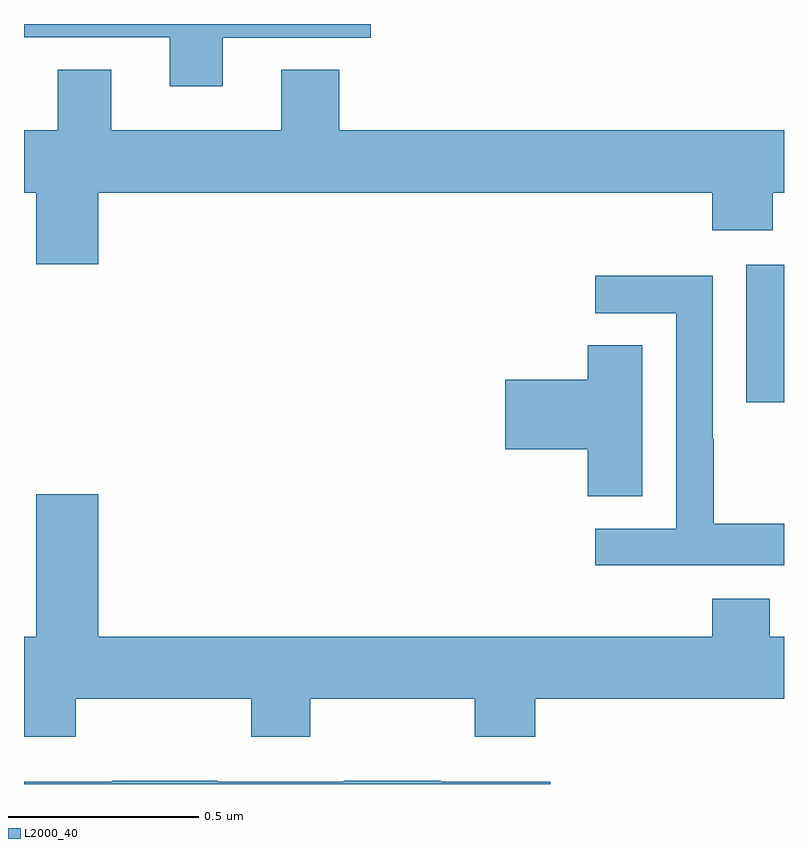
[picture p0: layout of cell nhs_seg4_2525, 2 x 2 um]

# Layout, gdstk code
import gdstk
lib = gdstk.Library(unit=1e-6, precision=1e-09)
def R(c, l, rs):  # rectangles x0, y0, x1, y1
    for r in rs: c.add(gdstk.rectangle(r[:2], r[2:], *l))
def P(c, l, *ps):  # polygons
    for p in ps: c.add(gdstk.Polygon(p, *l))
L2000_40 = (2000, 40)

nhs_seg4_2525 = lib.new_cell('nhs_seg4_2525')
R(nhs_seg4_2525, L2000_40, [(142.901,826.905,143,827.266)])
P(nhs_seg4_2525, L2000_40, [(141.523,827.864),(141.913,827.864),(141.913,827.9),(141,827.9),(141,827.865),(141.383,827.865),(141.383,827.736),(141.523,827.736)],
  [(141.196,827.456),(142.811,827.456),(142.811,827.357),(142.971,827.357),(142.971,827.456),(143,827.456),(143,827.62),(141.83,827.62),(141.83,827.779),(141.677,827.779),(141.677,827.62),(141.229,827.62),(141.229,827.78),(141.089,827.78),(141.089,827.62),(141,827.62),(141,827.456),(141.032,827.456),(141.032,827.268),(141.196,827.268)],
  [(143,826.585),(142.815,826.585),(142.815,826.808),(142.812,826.808),(142.812,827.238),(142.503,827.238),(142.503,827.139),(142.716,827.139),(142.716,826.572),(142.503,826.572),(142.503,826.476),(143,826.476)],
  [(142.627,827.054),(142.484,827.054),(142.484,826.964),(142.266,826.964),(142.266,826.781),(142.484,826.781),(142.484,826.657),(142.627,826.657)],
  [(141.196,826.663),(141.032,826.663),(141.032,826.288),(141,826.288),(141,826.025),(141.136,826.025),(141.136,826.124),(141.598,826.124),(141.598,826.025),(141.753,826.025),(141.753,826.124),(142.186,826.124),(142.186,826.025),(142.346,826.025),(142.346,826.124),(143,826.124),(143,826.288),(142.963,826.288),(142.963,826.387),(142.811,826.387),(142.811,826.288),(141.196,826.288)],
  [(142.385,825.906),(142.097,825.906),(142.097,825.908),(141.841,825.908),(141.841,825.906),(141.509,825.906),(141.509,825.908),(141.232,825.908),(141.232,825.906),(141,825.906),(141,825.9),(142.385,825.9)])

lib.write_gds('nhs_seg4_2525.gds')
